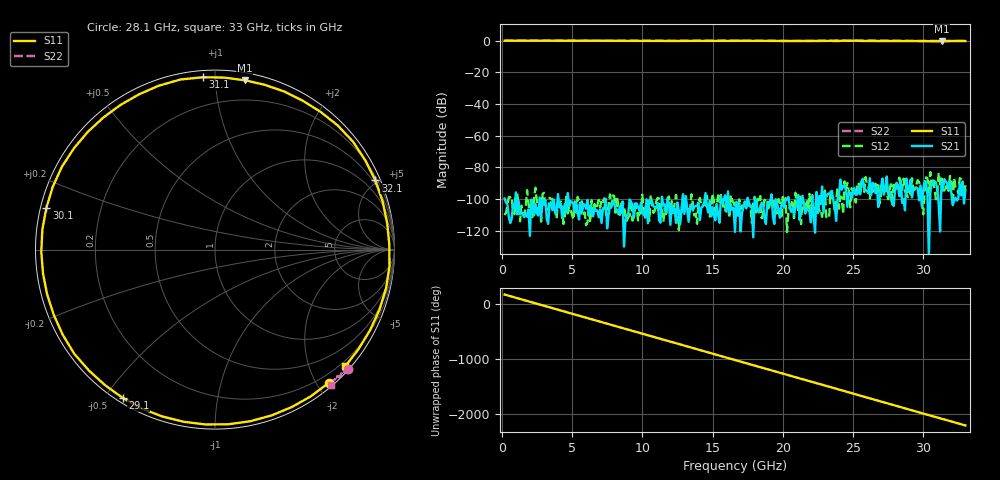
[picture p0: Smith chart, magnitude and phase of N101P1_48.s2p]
# GHZ S RI R 50
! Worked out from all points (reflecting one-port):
!   329 points, 200 MHz to 33 GHz, reference 50 ohm
!   lowest |S11| = -0.4 dB at 31.3 GHz (marker M1), VSWR 46.48, Z = 2.6 + j59.5 ohm
!   phase of S11 starts at 165 deg and turns -2367 deg over the sweep
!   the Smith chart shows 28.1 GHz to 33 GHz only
!   S11 on the Smith chart (normalised r, x): 28.1 GHz: 0.07, -2.17; 29.1 GHz: 0.02, -0.55; 30.1 GHz: 0.02, +0.12; 31.1 GHz: 0.04, +0.93; 32.1 GHz: 0.33, +4.82; 33 GHz: 0.10, -2.61
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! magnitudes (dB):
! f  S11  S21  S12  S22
! 200 MHz  0.0  -99.7  -110.2  0.0
! 5.7 GHz  0.0  -109.1  -101.5  0.0
! 11.2 GHz  -0.2  -113.7  -99.8  -0.1
! 16.6 GHz  -0.1  -120.8  -104.9  0.0
! 22.1 GHz  -0.2  -98.2  -97.6  -0.1
! 23 GHz  -0.2  -96.6  -94.7  0.0
! 23.4 GHz  -0.1  -98.0  -95.3  0.0
! 23.6 GHz  -0.2  -101.1  -99.1  0.0
! 23.9 GHz  -0.1  -100.1  -92.9  0.1
! 24 GHz  -0.2  -97.6  -106.2  0.0
! 24.1 GHz  -0.1  -87.9  -98.5  0.0
! 24.7 GHz  -0.1  -96.2  -94.7  0.0
! 25 GHz  0.0  -94.2  -95.2  0.0
! 25.6 GHz  -0.2  -88.8  -89.7  0.0
! 27.6 GHz  -0.2  -95.1  -94.9  0.0
! 28.1 GHz  -0.2  -89.8  -93.6  0.0
! 29.1 GHz  -0.2  -87.9  -97.1  -0.1
! 30.1 GHz  -0.3  -88.7  -95.2  -0.1
! 31.1 GHz  -0.3  -103.1  -83.4  -0.2
! 31.3 GHz  -0.4  -89.1  -87.1  -0.2
! 32.1 GHz  -0.2  -103.9  -103.3  -0.2
! 33 GHz  -0.2  -94.5  -91.3  0.0
